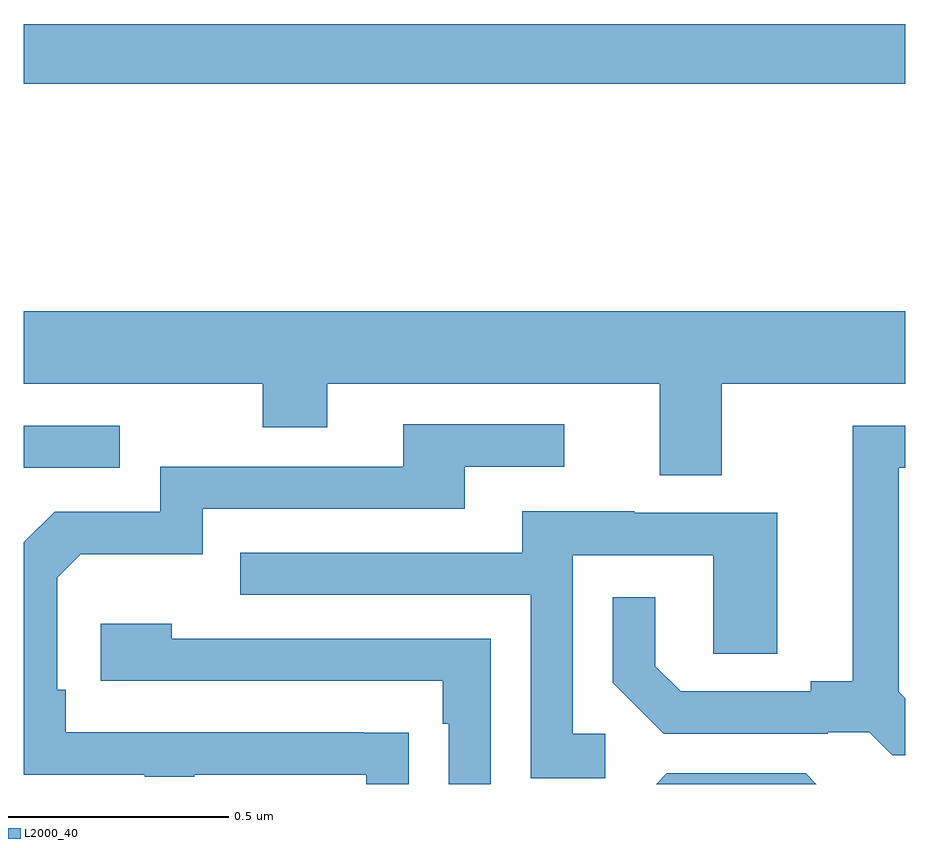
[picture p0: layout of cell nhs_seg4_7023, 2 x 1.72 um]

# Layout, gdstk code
import gdstk
lib = gdstk.Library(unit=1e-6, precision=1e-09)
def R(c, l, rs):  # rectangles x0, y0, x1, y1
    for r in rs: c.add(gdstk.rectangle(r[:2], r[2:], *l))
def P(c, l, *ps):  # polygons
    for p in ps: c.add(gdstk.Polygon(p, *l))
L2000_40 = (2000, 40)

nhs_seg4_7023 = lib.new_cell('nhs_seg4_7023')
R(nhs_seg4_7023, L2000_40, [(197,808.617,197.218,808.713), (197,809.488,199,809.624)])
P(nhs_seg4_7023, L2000_40, [(198.583,808.808),(199,808.808),(199,808.972),(197,808.972),(197,808.808),(197.542,808.808),(197.542,808.709),(197.689,808.709),(197.689,808.808),(198.443,808.808),(198.443,808.6),(198.583,808.6)],
  [(197.873,808.016),(197.771,808.016),(197.771,808.017),(197.096,808.017),(197.096,808.114),(197.076,808.114),(197.076,808.368),(197.129,808.421),(197.406,808.421),(197.406,808.524),(198.001,808.524),(198.001,808.62),(198.226,808.62),(198.226,808.716),(197.861,808.716),(197.861,808.62),(197.31,808.62),(197.31,808.518),(197.07,808.518),(197,808.448),(197,807.921),(197.275,807.921),(197.275,807.916),(197.387,807.916),(197.387,807.921),(197.777,807.921),(197.777,807.9),(197.873,807.9)],
  [(199,808.094),(198.985,808.109),(198.985,808.617),(199,808.617),(199,808.713),(198.881,808.713),(198.881,808.133),(198.785,808.133),(198.785,808.11),(198.49,808.11),(198.433,808.167),(198.433,808.324),(198.336,808.324),(198.336,808.13),(198.452,808.014),(198.824,808.014),(198.824,808.017),(198.918,808.017),(198.97,807.965),(199,807.965)],
  [(198.319,808.014),(198.246,808.014),(198.246,808.419),(198.564,808.419),(198.564,808.195),(198.709,808.195),(198.709,808.515),(198.385,808.515),(198.385,808.519),(198.131,808.519),(198.131,808.425),(197.491,808.425),(197.491,808.329),(198.15,808.329),(198.15,807.913),(198.319,807.913)],
  [(198.06,808.23),(197.336,808.23),(197.336,808.264),(197.175,808.264),(197.175,808.134),(197.951,808.134),(197.951,808.037),(197.964,808.037),(197.964,807.9),(198.06,807.9)],
  [(198.774,807.924),(198.459,807.924),(198.435,807.9),(198.798,807.9)])

lib.write_gds('nhs_seg4_7023.gds')
